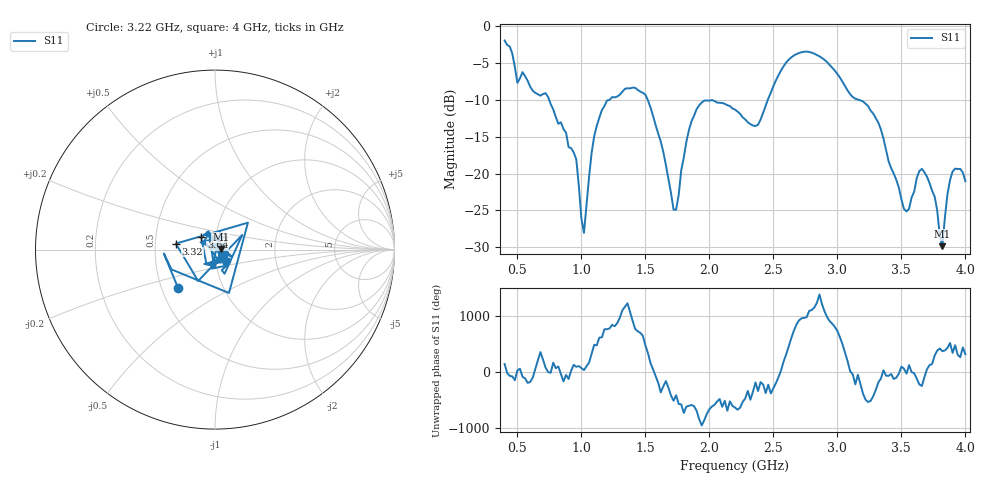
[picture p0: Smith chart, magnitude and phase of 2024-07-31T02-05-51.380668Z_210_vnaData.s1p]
!Created with skrf (http://scikit-rf.org).
# Hz S RI R 50.0
!freq ReS11 ImS11
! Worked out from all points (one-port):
!   181 points, 400 MHz to 4 GHz, reference 50 ohm
!   lowest |S11| = -29.8 dB at 3.82 GHz (marker M1), VSWR 1.07, Z = 53.3 + j0.421 ohm
!   |S11| at or under -10 dB: 747.3 MHz to 1.222 GHz (474.7 MHz wide, 48.2 % of centre); 1.517 GHz to 2.457 GHz (939.8 MHz wide, 47.3 % of centre); 3.162 GHz to end of sweep
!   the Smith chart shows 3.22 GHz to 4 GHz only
!   S11 on the Smith chart (normalised r, x): 3.22 GHz: 0.61, -0.28; 3.32 GHz: 0.64, +0.05; 3.64 GHz: 0.85, +0.12; 4 GHz: 1.12, -0.15
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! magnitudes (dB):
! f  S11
! 400 MHz  -2.0
! 500 MHz  -7.7
! 720 MHz  -9.1
! 860 MHz  -14.0
! 960 MHz  -18.1
! 1.02 GHz  -28.0
! 1.08 GHz  -17.2
! 1.12 GHz  -13.5
! 1.3 GHz  -9.3
! 1.5 GHz  -9.3
! 1.62 GHz  -15.7
! 1.72 GHz  -24.9
! 1.76 GHz  -22.9
! 1.82 GHz  -15.7
! 1.9 GHz  -11.3
! 2.2 GHz  -11.4
! 2.38 GHz  -13.4
! 2.66 GHz  -4.0
! 2.88 GHz  -4.4
! 3.1 GHz  -9.3
! 3.22 GHz  -10.6
! 3.32 GHz  -13.1
! 3.56 GHz  -24.8
! 3.64 GHz  -19.7
! 3.76 GHz  -23.1
! 3.82 GHz  -29.8
! 3.9 GHz  -19.7
! 4 GHz  -21.0
